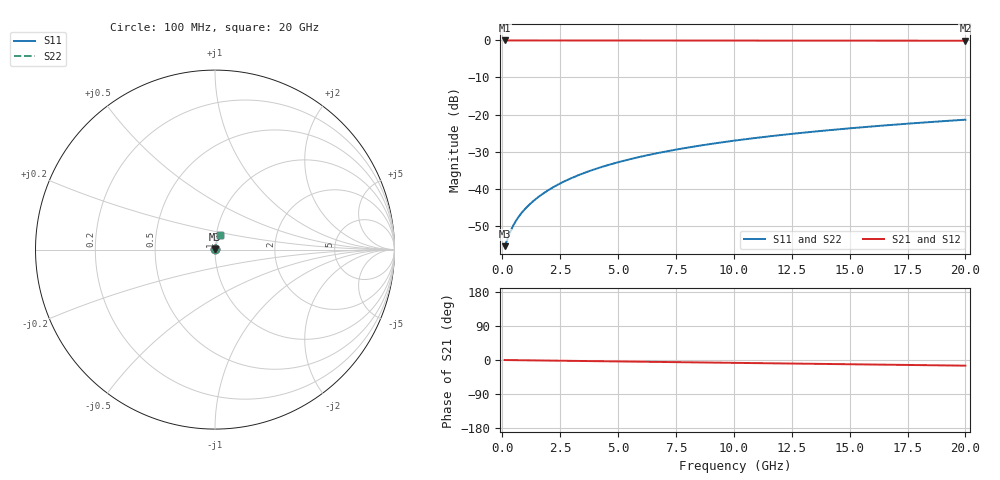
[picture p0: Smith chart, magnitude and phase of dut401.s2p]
! Touchstone file exported from HFSS 2026.1.0
!  File:  C:/ffzhzh/LocalFiles/Ansys_Project_Files/temp_train_BSMRDL_401_1783012351_53980.aedt
!  Generated:  01:14:10 AM Jul  3, 2026
!  Design:  BSMRDL
!  Project:  temp_train_BSMRDL_401_1783012351_53980
! Variables:
!  h_bsmrdl = 2.52um
!  h_ox = 20um
!  h_rdl = 5um
!  h_sub = 80um
!  h_tmrdl = 5um
!  h_tsv = 80um
!  h_via = 3um
!  l_bsmrdl = 226.49um
!  l_sub = 626.49um
!  l_tmrdl = 200um
!  m_sub = 200um
!  pitch = 36.29um
!  r_tsv = 6um
!  s_tmrdl = 10um
!  w_bsmrdl = 26.5um
!  w_sub = 500um
!  w_tmrdl = 12um
!  x_tsv_center1 = 206um
!  x_tsv_center2 = 458.99um
!  x_tsv_center3 = 670.99um
!  x_tsv_center4 = 923.98um
!  x_tsv_center5 = 1135.98um
!  x_tsv_center6 = 1388.97um
# GHz S MA R 50.000000
! Terminal data exported
! Port[1] = BSM_RDL1_1_T1
! Port[2] = BSM_RDL1_1_T2
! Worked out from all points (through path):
!   200 points, 100 MHz to 20 GHz, reference 50 ohm
!   highest |S21| = -0.01 dB at 100 MHz (marker M1); lowest = -0.1 dB at 20 GHz (marker M2)
!   group delay of S21, straight-line fit = 2.07 ps
!   lowest |S11| = -55.5 dB at 100 MHz (marker M3), VSWR 1.00, Z = 50.2 + j0.0611 ohm
!   |S11| at or under -10 dB: start of sweep to end of sweep
!   |S22| runs from -55.5 to -21.4 dB; largest |S21 - S12| = 9.1e-15
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0.1  0.001683 21.2  0.9984 -0.1  0.9984 -0.1  0.001683 21.2
! Gamma 0 0 0 0
! Port Impedance 50 0 50 0
0.3  0.002422 45.6  0.9982 -0.2  0.9982 -0.2  0.002422 45.6
0.4  0.002864 51.5  0.9981 -0.3  0.9981 -0.3  0.002864 51.5
0.5  0.003306 55.4  0.998 -0.4  0.998 -0.4  0.003306 55.4
0.6  0.00374 58.3  0.998 -0.5  0.998 -0.5  0.00374 58.3
0.7  0.004166 60.6  0.9979 -0.6  0.9979 -0.6  0.004166 60.6
0.9  0.005002 64.1  0.9978 -0.7  0.9978 -0.7  0.005002 64.1
1.2  0.006246 68.0  0.9977 -0.9  0.9977 -0.9  0.006246 68.0
1.7  0.008347 72.3  0.9976 -1.3  0.9976 -1.3  0.008347 72.3
2.2  0.01049 74.9  0.9975 -1.7  0.9975 -1.7  0.01049 74.9
2.8  0.0131 76.7  0.9974 -2.1  0.9974 -2.1  0.0131 76.7
3.5  0.01617 78.0  0.9973 -2.7  0.9973 -2.7  0.01617 78.0
4.2  0.01925 78.6  0.9971 -3.2  0.9971 -3.2  0.01925 78.6
5  0.02278 79.0  0.9969 -3.8  0.9969 -3.8  0.02278 79.0
5.9  0.02673 79.0  0.9966 -4.5  0.9966 -4.5  0.02673 79.0
6.8  0.03066 78.8  0.9963 -5.2  0.9963 -5.2  0.03066 78.8
8.3  0.03716 78.3  0.9958 -6.3  0.9958 -6.3  0.03716 78.3
10.1  0.04486 77.3  0.995 -7.6  0.995 -7.6  0.04486 77.3
11.7  0.05161 76.4  0.9943 -8.8  0.9943 -8.8  0.05162 76.4
13.4  0.05869 75.3  0.9936 -10.1  0.9936 -10.1  0.05869 75.3
16.7  0.07218 73.2  0.992 -12.5  0.992 -12.5  0.07218 73.2
20  0.08535 71.0  0.9903 -14.9  0.9903 -14.9  0.08535 71.0
